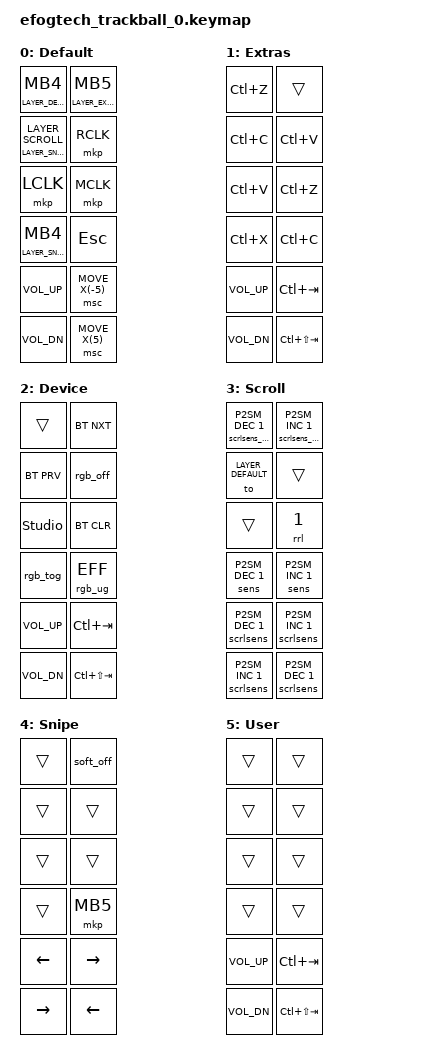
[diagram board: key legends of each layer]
#include <behaviors.dtsi>
#include <dt-bindings/zmk/bt.h>
#include <dt-bindings/zmk/keys.h>
#include <dt-bindings/zmk/pointing.h>
#include <dt-bindings/zmk/outputs.h>
#include <dt-bindings/zmk/p2sm.h>
#include <dt-bindings/zmk/rgb.h>
#include <dt-bindings/zmk/ext_power.h>
#include <behaviors/p2sm_behaviors.dtsi>
#include <behaviors/rate_limit.dtsi>
#include <behaviors/auto_hold.dtsi>

#define LAYER_DEFAULT 0
#define LAYER_EXTRAS 1
#define LAYER_DEVICE 2
#define LAYER_SCROLL 3
#define LAYER_SNIPE 4
#define LAYER_USER 5

#define SCROLL_MULTIPLIER 1
#define SCROLL_DIVISOR 3

#define SNIPE_MULTIPLIER 1
#define SNIPE_DIVISOR 4

/ {
	keymap {
		compatible = "zmk,keymap";

		default_layer {
			display-name = "Default";
			DECLARE_ENCODERS;
			bindings = <
				// buttons
				&ltm LAYER_DEVICE MB4     		&ltm LAYER_EXTRAS MB5
				&mto LAYER_SNIPE LAYER_SCROLL 	&mkp RCLK
				&mkp LCLK                 		&mkp MCLK
				&ltm LAYER_SNIPE MB4  			&kp ESC

				// rotary encoders
				&kp C_VOL_UP              &msc MOVE_X(-5)
				&kp C_VOL_DN              &msc MOVE_X(5)
			>;
		};

		layer2 {
			display-name = "Extras";
			DECLARE_ENCODERS;
			bindings = <
				&kp LC(Z) 	   &trans  
				&kp LC(C)      &kp LC(V)
				&kp LC(V)      &kp LC(Z)
				&kp LC(X)      &kp LC(C)

				&kp C_VOL_UP   &kp LC(TAB)
				&kp C_VOL_DN   &kp LC(LS(TAB))
			>;
		};

		layer3 {
			display-name = "Device";
			DECLARE_ENCODERS;
			bindings = <
				&trans			   &bt BT_NXT 
				&bt BT_PRV         &rgb_off
				&studio_unlock     &bt BT_CLR 
				&rgb_tog    	   &rgb_ug RGB_EFF

				&kp C_VOL_UP       &kp LC(TAB)
				&kp C_VOL_DN       &kp LC(LS(TAB))
			>;
		};

		layer4 {
			display-name = "Scroll";
			DECLARE_ENCODERS;
			bindings = <
			    &scrlsens_nowrap P2SM_DEC 1  &scrlsens_nowrap P2SM_INC 1
			    &to LAYER_DEFAULT     &trans
			    &trans                &rrl 1
			    &sens P2SM_DEC 1      &sens P2SM_INC 1

				&scrlsens P2SM_DEC 1    &scrlsens P2SM_INC 1
				&scrlsens P2SM_INC 1    &scrlsens P2SM_DEC 1
			>;
		};

		layer5 {
			display-name = "Snipe";
			DECLARE_ENCODERS;
			bindings = <
				&trans           &soft_off
				&trans           &trans
				&trans           &trans
				&trans           &mkp MB5

				&kp LEFT         &kp RIGHT
				&kp RIGHT        &kp LEFT
			>;
		};

		layer6 {
			display-name = "User";
			DECLARE_ENCODERS;
			bindings = <
				&trans        &trans
				&trans        &trans
				&trans        &trans
				&trans        &trans

				&kp C_VOL_UP  &kp LC(TAB)
				&kp C_VOL_DN  &kp LC(LS(TAB))
		    >;
		};
	};

	trackball {
		scroll {
			layers = <LAYER_SCROLL>;
			input-processors = <&zip_xy_scaler SCROLL_MULTIPLIER SCROLL_DIVISOR>, <&zip_axis_clamper>,
							   <&zip_xy_to_scroll_mapper>, <&zip_scroll_transform INPUT_TRANSFORM_Y_INVERT>;
		};

		snipe {
			layers = <LAYER_SNIPE>;
			input-processors = <&zip_xy_scaler SNIPE_MULTIPLIER SNIPE_DIVISOR>;
		};
	};

	macros {
		rgb_tog: rgb_tog {
			compatible = "zmk,behavior-macro";
			display-name = "Toggle RGB";
			#binding-cells = <0>;
			wait-ms = <20>;
			bindings
			= <&rgb_ug RGB_TOG>
			, <&ext_power EP_TOG>
			;
		};

		rgb_off: rgb_off {
			compatible = "zmk,behavior-macro";
			display-name = "RGB off";
			#binding-cells = <0>;
			wait-ms = <20>;
			bindings
			= <&ext_power EP_OFF>
			, <&rgb_ug RGB_OFF>
			;
		};
	};
};
